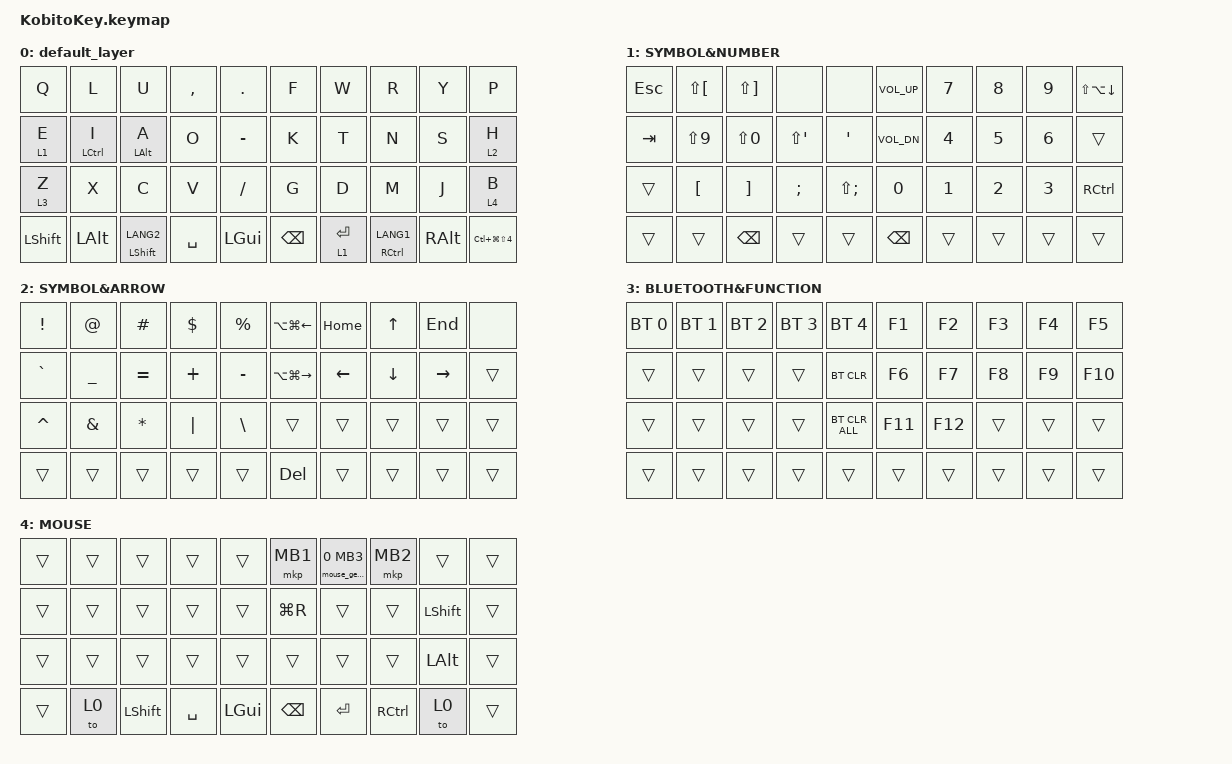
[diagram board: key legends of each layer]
#include <input/processors.dtsi>
#include <behaviors.dtsi>
#include <dt-bindings/zmk/bt.h>
#include <dt-bindings/zmk/keys.h>
#include <dt-bindings/zmk/mouse-gesture.h>
#include <dt-bindings/zmk/pointing.h>

&mt {
    flavor = "tap-preferred";
    tapping-term-ms = <280>;
};

&zip_mouse_gesture {
    enable-eager-mode;
    suppress-movement;

    browser_back {
        pattern = <GESTURE_LEFT>;
        bindings = <&kp LG(LBKT)>;
    };

    browser_forward {
        pattern = <GESTURE_RIGHT>;
        bindings = <&kp LG(RBKT)>;
    };

    mission_control_open {
        pattern = <GESTURE_UP>;
        bindings = <&kp F1>;
    };

    close_window {
        pattern = <GESTURE_DOWN>;
        bindings = <&kp LG(W)>;
    };
};

/ {
    combos {
        compatible = "zmk,combos";

        combo_eisu {
            timeout-ms = <50>;
            key-positions = <12 13>;
            bindings = <&kp LANG2>;
        };

        combo_kana {
            timeout-ms = <50>;
            key-positions = <16 17>;
            bindings = <&kp LANG1>;
        };

        combo_esc {
            timeout-ms = <50>;
            key-positions = <0 1>;
            bindings = <&kp ESC>;
        };

        combo_tab {
            timeout-ms = <50>;
            key-positions = <10 11>;
            bindings = <&kp TAB>;
        };
    };

    keymap {
        compatible = "zmk,keymap";

        default_layer {
            bindings = <
&kp Q  &kp L  &kp U  &kp COMMA  &kp DOT  &kp F  &kp W  &kp R  &kp Y  &kp P
&lt 1 E  &mt LCTRL I  &mt LALT A  &kp O  &kp MINUS  &kp K  &kp T  &kp N  &kp S  &lt 2 H
&lt 3 Z  &kp X  &kp C  &kp V  &kp SLASH  &kp G  &kp D  &kp M  &kp J  &lt 4 B
&kp LSHFT  &kp LALT  &mt LSHFT LANG2  &kp SPACE  &kp LGUI  &kp BSPC  &lt 1 ENTER  &mt RCTRL LANG1  &kp RALT  &kp LC(LG(LS(N4)))
            >;
        };

        layer1 {
            label = "SYMBOL&NUMBER";
            bindings = <
&kp ESC  &kp LS(LBKT)  &kp LS(RBKT)  &none  &none  &kp C_VOL_UP  &kp N7  &kp N8  &kp N9  &kp LS(LA(DOWN))
&kp TAB  &kp LS(N9)  &kp LS(N0)  &kp LS(APOS)  &kp APOS  &kp C_VOL_DN  &kp N4  &kp N5  &kp N6  &trans
&trans  &kp LBKT  &kp RBKT  &kp SEMI  &kp LS(SEMI)  &kp N0  &kp N1  &kp N2  &kp N3  &kp RCTRL
&trans  &trans  &kp BSPC  &trans  &trans  &kp BSPC  &trans  &trans  &trans  &trans
            >;
        };

        layer2 {
            label = "SYMBOL&ARROW";
            bindings = <
&kp EXCL  &kp AT  &kp HASH  &kp DOLLAR  &kp PERCENT  &kp LA(LG(LEFT))  &kp HOME  &kp UP  &kp END  &none
&kp GRAVE  &kp UNDERSCORE  &kp EQUAL  &kp PLUS  &kp MINUS  &kp LA(LG(RIGHT))  &kp LEFT  &kp DOWN  &kp RIGHT  &trans
&kp CARET  &kp AMPERSAND  &kp ASTERISK  &kp PIPE  &kp BACKSLASH  &trans  &trans  &trans  &trans  &trans
&trans  &trans  &trans  &trans  &trans  &kp DEL  &trans  &trans  &trans  &trans
            >;
        };

                layer3 {
                    label = "BLUETOOTH&FUNCTION";
                    bindings = <
&bt BT_SEL 0  &bt BT_SEL 1  &bt BT_SEL 2  &bt BT_SEL 3  &bt BT_SEL 4  &kp F1  &kp F2  &kp F3  &kp F4  &kp F5
&trans  &trans  &trans  &trans  &bt BT_CLR  &kp F6  &kp F7  &kp F8  &kp F9  &kp F10
&trans  &trans  &trans  &trans  &bt BT_CLR_ALL  &kp F11  &kp F12 &trans  &trans  &trans
&trans  &trans  &trans  &trans  &trans  &trans  &trans  &trans  &trans  &trans
            >;
       };

                layer4 {
                    label = "MOUSE";
                    bindings = <
&trans  &trans  &trans  &trans  &trans  &mkp MB1  &mouse_gesture_mkp 0 MB3  &mkp MB2  &trans  &trans
&trans  &trans  &trans  &trans  &trans  &kp LG(R)  &trans  &trans  &kp LSHFT  &trans
&trans  &trans  &trans  &trans  &trans  &trans  &trans  &trans  &kp LALT  &trans
&trans  &to 0  &kp LSHFT  &kp SPACE  &kp LGUI  &kp BSPC  &kp ENTER  &kp RCTRL  &to 0  &trans
                    >;
                };
            };
        };
